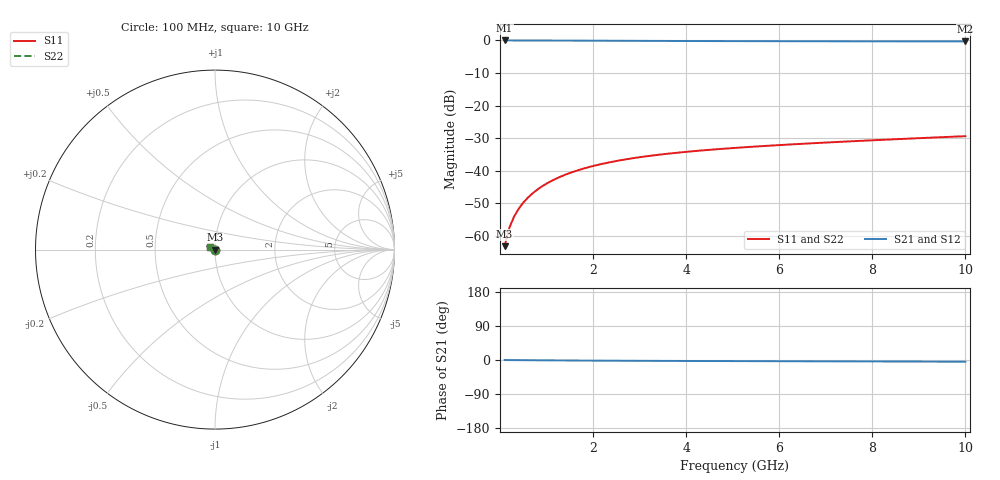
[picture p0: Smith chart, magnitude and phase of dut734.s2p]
! Touchstone file exported from HFSS 2024.1.0
!  File:  C:/UserFiles/LocalFiles/RDL_TSV_Batchsim/temp_TSV1_734_1779869728.aedt
!  Generated:  04:22:45 PM May 27, 2026
!  Design:  TSV1
!  Project:  temp_TSV1_734_1779869728
!  Setup:  Setup1
!  Solution:  Sweep
! Variables:
!  dtsv = 7.06um
!  hbump = 3um
!  htsv = 64.75um
!  lrdl = 252.1521522um
!  p = 40
!  p1 = 51.71um
!  t = 500um
!  trdl = 3um
!  wrdl = 24.89489489um
# GHz S MA R 50.000000
! Terminal data exported
! Port[1] = TSV22_T1
! Port[2] = TSV22_T2
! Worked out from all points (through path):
!   100 points, 100 MHz to 10 GHz, reference 50 ohm
!   highest |S21| = 0.00 dB at 100 MHz (marker M1); lowest = -0.3 dB at 10 GHz (marker M2)
!   lowest |S11| = -63.2 dB at 100 MHz (marker M3), VSWR 1.00, Z = 50 - j0.0656 ohm
!   |S11| at or under -10 dB: start of sweep to end of sweep
!   |S22| runs from -63.2 to -29.4 dB; largest |S21 - S12| = 3e-15
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0.1  0.0006945 -70.8  0.9997 -0.1  0.9997 -0.1  0.0006945 -70.8
! Gamma 0 0 0 0
! Port Impedance 50 0 50 0
0.2  0.001317 -83.4  0.9996 -0.2  0.9996 -0.2  0.001317 -83.4
0.3  0.001953 -89.2  0.9995 -0.3  0.9995 -0.3  0.001953 -89.2
0.4  0.002591 -93.3  0.9993 -0.4  0.9993 -0.4  0.002591 -93.3
0.5  0.003228 -96.6  0.9991 -0.5  0.9991 -0.5  0.003228 -96.6
0.6  0.003862 -99.5  0.9988 -0.6  0.9988 -0.6  0.003862 -99.5
0.7  0.004491 -102.2  0.9985 -0.6  0.9985 -0.6  0.004491 -102.2
0.8  0.005114 -104.7  0.9981 -0.7  0.9981 -0.7  0.005114 -104.7
0.9  0.005729 -107.1  0.9977 -0.8  0.9977 -0.8  0.005729 -107.1
1.1  0.006934 -111.7  0.9968 -1.0  0.9968 -1.0  0.006934 -111.7
1.4  0.008666 -118.0  0.9953 -1.2  0.9953 -1.2  0.008666 -118.0
1.6  0.009763 -122.1  0.9941 -1.4  0.9941 -1.4  0.009763 -122.1
1.8  0.01081 -126.0  0.9929 -1.5  0.9929 -1.5  0.01081 -126.0
2.1  0.01229 -131.5  0.9911 -1.7  0.9911 -1.7  0.01229 -131.5
2.5  0.0141 -138.5  0.9887 -1.9  0.9887 -1.9  0.0141 -138.5
2.9  0.01573 -144.9  0.9863 -2.1  0.9863 -2.1  0.01573 -144.9
3.4  0.01755 -152.3  0.9835 -2.3  0.9835 -2.3  0.01755 -152.3
4.2  0.02007 -162.8  0.9797 -2.6  0.9797 -2.6  0.02007 -162.8
5.1  0.02252 -172.9  0.9762 -2.9  0.9762 -2.9  0.02252 -172.9
6.7  0.02637 172.5  0.9719 -3.4  0.9719 -3.4  0.02637 172.5
8.4  0.03023 160.5  0.9688 -4.0  0.9688 -4.0  0.03023 160.5
10  0.03391 151.4  0.9667 -4.5  0.9667 -4.5  0.03391 151.4
